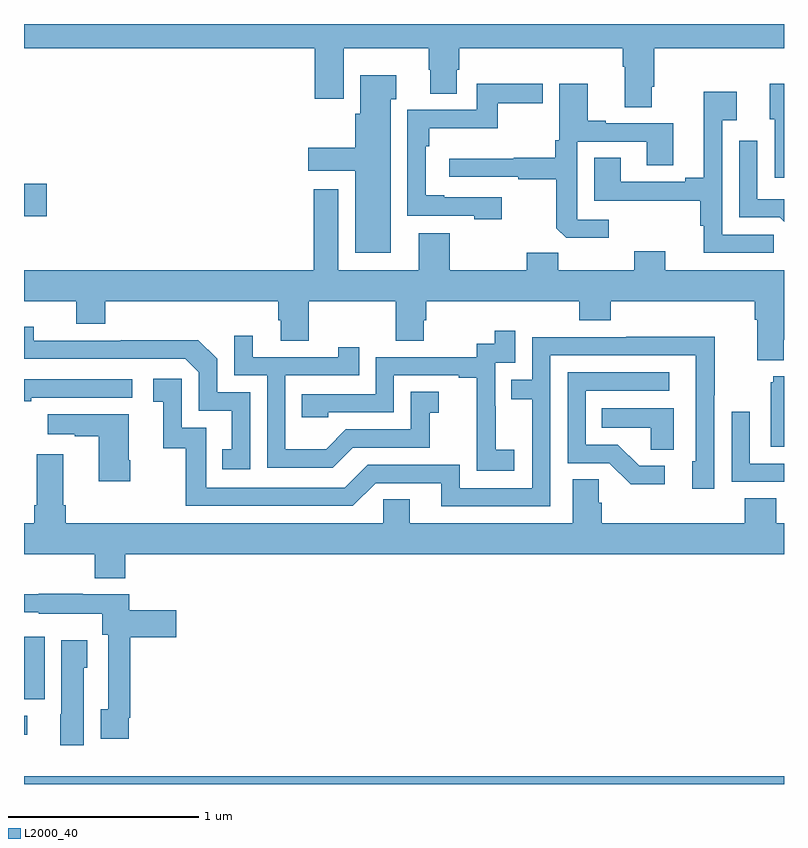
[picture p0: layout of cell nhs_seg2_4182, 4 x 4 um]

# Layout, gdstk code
import gdstk
lib = gdstk.Library(unit=1e-6, precision=1e-09)
def R(c, l, rs):  # rectangles x0, y0, x1, y1
    for r in rs: c.add(gdstk.rectangle(r[:2], r[2:], *l))
def P(c, l, *ps):  # polygons
    for p in ps: c.add(gdstk.Polygon(p, *l))
L2000_40 = (2000, 40)

nhs_seg2_4182 = lib.new_cell('nhs_seg2_4182')
R(nhs_seg2_4182, L2000_40, [(337,607.8,341,607.84), (337,608.058,337.018,608.16), (337,608.247,337.108,608.575), (337,610.787,337.12,610.958)])
P(nhs_seg2_4182, L2000_40, [(340.303,611.47),(340.316,611.47),(340.316,611.672),(341,611.672),(341,611.8),(337,611.8),(337,611.672),(338.531,611.672),(338.531,611.406),(338.683,611.406),(338.683,611.672),(339.13,611.672),(339.13,611.559),(339.137,611.559),(339.137,611.434),(339.277,611.434),(339.277,611.559),(339.29,611.559),(339.29,611.672),(340.151,611.672),(340.151,611.576),(340.163,611.576),(340.163,611.362),(340.303,611.362)],
  [(338.929,611.405),(338.959,611.405),(338.959,611.53),(338.771,611.53),(338.771,611.328),(338.744,611.328),(338.744,611.149),(338.496,611.149),(338.496,611.027),(338.744,611.027),(338.744,610.595),(338.929,610.595)],
  [(339.514,610.887),(339.211,610.887),(339.211,610.9),(339.114,610.9),(339.114,611.156),(339.134,611.156),(339.134,611.252),(339.493,611.252),(339.493,611.383),(339.73,611.383),(339.73,611.486),(339.384,611.486),(339.384,611.349),(339.018,611.349),(339.018,610.791),(339.369,610.791),(339.369,610.772),(339.514,610.772)],
  [(341,611.486),(340.925,611.486),(340.925,611.298),(340.95,611.298),(340.95,610.992),(341,610.992)],
  [(340.078,610.77),(339.912,610.77),(339.912,611.181),(340.277,611.181),(340.277,611.056),(340.417,611.056),(340.417,611.277),(340.063,611.277),(340.063,611.29),(339.967,611.29),(339.967,611.485),(339.816,611.485),(339.816,611.188),(339.796,611.188),(339.796,611.096),(339.577,611.096),(339.577,611.092),(339.237,611.092),(339.237,610.995),(339.601,610.995),(339.601,610.983),(339.801,610.983),(339.801,610.725),(339.853,610.674),(340.078,610.674)],
  [(340.947,610.692),(340.674,610.692),(340.674,611.294),(340.75,611.294),(340.75,611.443),(340.577,611.443),(340.577,610.991),(340.481,610.991),(340.481,610.971),(340.141,610.971),(340.141,611.096),(340.001,611.096),(340.001,610.87),(340.558,610.87),(340.558,610.739),(340.577,610.739),(340.577,610.596),(340.947,610.596)],
  [(341,610.878),(340.86,610.878),(340.86,611.185),(340.764,611.185),(340.764,610.782),(340.977,610.782),(341,610.759)],
  [(340.999,610.138),(341,610.138),(341,610.504),(340.375,610.504),(340.375,610.603),(340.211,610.603),(340.211,610.504),(339.811,610.504),(339.811,610.597),(339.647,610.597),(339.647,610.504),(339.241,610.504),(339.241,610.699),(339.077,610.699),(339.077,610.504),(338.653,610.504),(338.653,610.93),(338.525,610.93),(338.525,610.504),(337,610.504),(337,610.34),(337.274,610.34),(337.274,610.223),(337.427,610.223),(337.427,610.34),(338.339,610.34),(338.339,610.242),(338.351,610.242),(338.351,610.132),(338.499,610.132),(338.499,610.34),(338.956,610.34),(338.956,610.132),(339.103,610.132),(339.103,610.242),(339.116,610.242),(339.116,610.34),(339.923,610.34),(339.923,610.241),(340.088,610.241),(340.088,610.34),(340.847,610.34),(340.847,610.244),(340.859,610.244),(340.859,610.031),(340.999,610.031)],
  [(338.19,609.861),(338.016,609.861),(338.016,610.038),(337.918,610.136),(337.51,610.136),(337.51,610.134),(337.05,610.134),(337.05,610.207),(337,610.207),(337,610.038),(337.848,610.038),(337.92,609.966),(337.92,609.765),(338.093,609.765),(338.093,609.561),(338.044,609.561),(338.044,609.456),(338.19,609.456)],
  [(339.58,609.559),(339.482,609.559),(339.482,609.788),(339.48,609.788),(339.48,610.017),(339.585,610.017),(339.585,610.186),(339.477,610.186),(339.477,610.116),(339.384,610.116),(339.384,610.047),(338.85,610.047),(338.85,609.852),(338.461,609.852),(338.461,609.729),(338.601,609.729),(338.601,609.756),(338.946,609.756),(338.946,609.951),(339.287,609.951),(339.287,609.939),(339.383,609.939),(339.383,609.655),(339.382,609.655),(339.382,609.449),(339.58,609.449)],
  [(338.731,609.57),(339.135,609.57),(339.135,609.755),(339.184,609.755),(339.184,609.865),(339.036,609.865),(339.036,609.666),(338.694,609.666),(338.59,609.562),(338.376,609.562),(338.376,609.951),(338.765,609.951),(338.765,610.099),(338.654,610.099),(338.654,610.047),(338.203,610.047),(338.203,610.159),(338.106,610.159),(338.106,609.951),(338.28,609.951),(338.28,609.465),(338.626,609.465)],
  [(339.771,610.056),(340.536,610.056),(340.536,609.498),(340.517,609.498),(340.517,609.354),(340.632,609.354),(340.632,609.847),(340.635,609.847),(340.635,610.154),(340.171,610.154),(340.171,610.152),(339.675,610.152),(339.675,609.927),(339.565,609.927),(339.565,609.826),(339.675,609.826),(339.675,609.357),(339.294,609.357),(339.294,609.48),(338.808,609.48),(338.688,609.36),(337.959,609.36),(337.959,609.675),(337.83,609.675),(337.83,609.934),(337.68,609.934),(337.68,609.813),(337.733,609.813),(337.733,609.567),(337.851,609.567),(337.851,609.264),(338.73,609.264),(338.85,609.384),(339.197,609.384),(339.197,609.261),(339.771,609.261)],
  [(340.372,609.474),(340.237,609.474),(340.126,609.585),(339.957,609.585),(339.957,609.87),(340.396,609.87),(340.396,609.966),(339.861,609.966),(339.861,609.489),(340.08,609.489),(340.193,609.377),(340.372,609.377)],
  [(341,609.946),(340.943,609.946),(340.943,609.915),(340.931,609.915),(340.931,609.575),(341,609.575)],
  [(337.037,609.834),(337.57,609.834),(337.57,609.93),(337,609.93),(337,609.814),(337.037,609.814)],
  [(340.42,609.778),(340.042,609.778),(340.042,609.674),(340.299,609.674),(340.299,609.559),(340.42,609.559)],
  [(341,609.486),(340.821,609.486),(340.821,609.76),(340.725,609.76),(340.725,609.39),(341,609.39)],
  [(337.56,609.505),(337.552,609.505),(337.552,609.745),(337.125,609.745),(337.125,609.641),(337.268,609.641),(337.268,609.631),(337.394,609.631),(337.394,609.393),(337.56,609.393)],
  [(337.532,609.008),(341,609.008),(341,609.172),(340.958,609.172),(340.958,609.305),(340.793,609.305),(340.793,609.172),(340.04,609.172),(340.04,609.281),(340.026,609.281),(340.026,609.404),(339.887,609.404),(339.887,609.172),(339.031,609.172),(339.031,609.299),(338.892,609.299),(338.892,609.172),(337.22,609.172),(337.22,609.268),(337.207,609.268),(337.207,609.535),(337.067,609.535),(337.067,609.268),(337.055,609.268),(337.055,609.172),(337,609.172),(337,609.008),(337.372,609.008),(337.372,608.884),(337.532,608.884)],
  [(337.552,608.149),(337.559,608.149),(337.559,608.573),(337.801,608.573),(337.801,608.715),(337.553,608.715),(337.553,608.799),(337.309,608.799),(337.309,608.801),(337.077,608.801),(337.077,608.799),(337,608.799),(337,608.703),(337.077,608.703),(337.077,608.696),(337.412,608.696),(337.412,608.585),(337.443,608.585),(337.443,608.193),(337.403,608.193),(337.403,608.037),(337.552,608.037)],
  [(337.315,608.412),(337.333,608.412),(337.333,608.557),(337.196,608.557),(337.196,608.166),(337.19,608.166),(337.19,608.004),(337.315,608.004)])

lib.write_gds('nhs_seg2_4182.gds')
